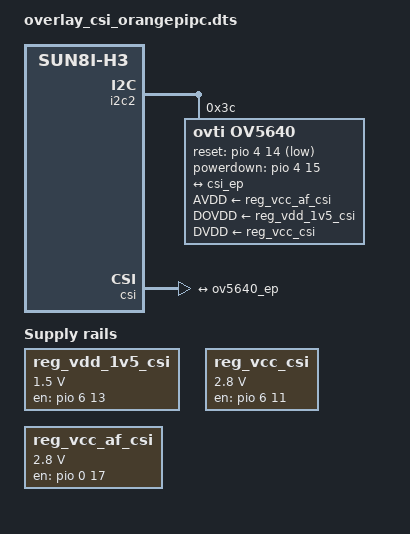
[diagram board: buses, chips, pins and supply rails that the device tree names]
/dts-v1/;
/plugin/;

/ {
        compatible = "allwinner,sun8i-h3";
};

&ccu {
        assigned-clocks = <&ccu 107>;
        assigned-clock-parents = <&osc24M>;
        assigned-clock-rates = <24000000>;
};

&pio {
        csi_mclk_pin: csi-mclk-pin {
                pins = "PE1";
                function = "csi";
        };
};

&i2c2_pins {
        bias-pull-up;
};

&i2c2 {
        status = "okay";

        ov5640: camera@3c {
                compatible = "ovti,ov5640";
                reg = <0x3c>;
                pinctrl-names = "default";
                pinctrl-0 = <&csi_mclk_pin>;
                clocks = <&ccu 107>;
                clock-names = "xclk";

                AVDD-supply = <&reg_vcc_af_csi>;
                DOVDD-supply = <&reg_vdd_1v5_csi>;
                DVDD-supply = <&reg_vcc_csi>;
                reset-gpios = <&pio 4 14 1>; /* CSI-RST-R: PE14 */
                powerdown-gpios = <&pio 4 15 0>; /* CSI-STBY-R: PE15 */

                port {
                        ov5640_ep: endpoint {
                                remote-endpoint = <&csi_ep>;
                                bus-width = <8>;
                                data-shift = <2>; /* lines 9:2 are used */
                                hsync-active = <1>; /* Active high */
                                vsync-active = <0>; /* Active low */
                                data-active = <1>;  /* Active high */
                                pclk-sample = <1>;  /* Rising */
                        };
                };
        };
};

&csi {
        status = "okay";

        port {
                #address-cells = <1>;
                #size-cells = <0>;

                csi_ep: endpoint {
                        remote-endpoint = <&ov5640_ep>;
                        bus-width = <8>;
                        hsync-active = <1>; /* Active high */
                        vsync-active = <0>; /* Active low */
                        data-active = <1>;  /* Active high */
                        pclk-sample = <1>;  /* Rising */
                };
        };
};

&{/} {
	reg_vdd_1v5_csi: vdd-1v5-csi {
		compatible = "regulator-fixed";
		regulator-name = "vdd1v5-csi";
		regulator-min-microvolt = <1500000>;
		regulator-max-microvolt = <1500000>;
		gpio = <&pio 6 13 0>; /* PG13 */
		enable-active-high;
		regulator-boot-on;
		regulator-always-on;
	};

	reg_vcc_csi: vcc-csi {
		compatible = "regulator-fixed";
		regulator-name = "vcc-csi";
		regulator-min-microvolt = <2800000>;
		regulator-max-microvolt = <2800000>;
		gpio = <&pio 6 11 0>; /* PG11 */
		enable-active-high;
		regulator-boot-on;
		regulator-always-on;
	};

	reg_vcc_af_csi: vcc-af-csi {
		compatible = "regulator-fixed";
		regulator-name = "vcc-af-csi";
		regulator-min-microvolt = <2800000>;
		regulator-max-microvolt = <2800000>;
		gpio = <&pio 0 17 0>; /* PA17 */
		enable-active-high;
		regulator-boot-on;
		regulator-always-on;
	};
};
